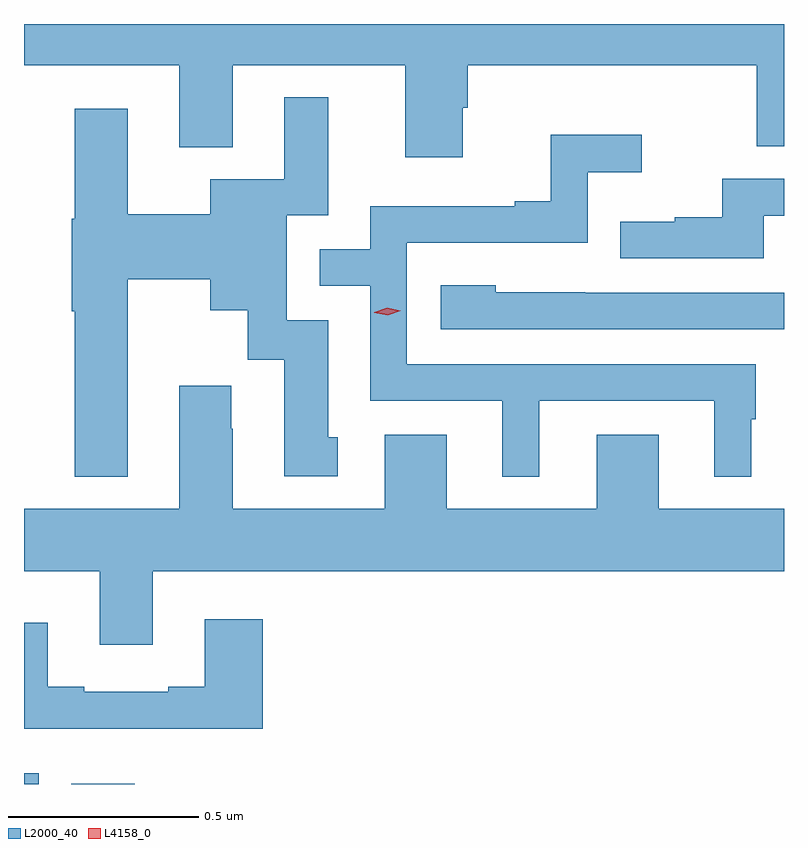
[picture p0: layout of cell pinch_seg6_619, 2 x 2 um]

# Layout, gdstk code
import gdstk
lib = gdstk.Library(unit=1e-6, precision=1e-09)
def R(c, l, rs):  # rectangles x0, y0, x1, y1
    for r in rs: c.add(gdstk.rectangle(r[:2], r[2:], *l))
def P(c, l, *ps):  # polygons
    for p in ps: c.add(gdstk.Polygon(p, *l))
L2000_40 = (2000, 40)
L4158_0 = (4158, 0)

pinch_seg6_619 = lib.new_cell('pinch_seg6_619')
R(pinch_seg6_619, L2000_40, [(396.4,969.42,396.439,969.448), (396.524,969.42,396.691,969.421)])
P(pinch_seg6_619, L2000_40, [(397.555,971.199),(397.568,971.199),(397.568,971.312),(398.328,971.312),(398.328,971.098),(398.4,971.098),(398.4,971.42),(396.4,971.42),(396.4,971.312),(396.809,971.312),(396.809,971.096),(396.949,971.096),(396.949,971.312),(397.403,971.312),(397.403,971.07),(397.555,971.07)],
  [(396.673,970.748),(396.89,970.748),(396.89,970.667),(396.989,970.667),(396.989,970.536),(397.085,970.536),(397.085,970.23),(397.225,970.23),(397.225,970.332),(397.201,970.332),(397.201,970.641),(397.092,970.641),(397.092,970.917),(397.201,970.917),(397.201,971.227),(397.085,971.227),(397.085,971.011),(396.89,971.011),(396.89,970.92),(396.673,970.92),(396.673,971.197),(396.533,971.197),(396.533,970.908),(396.526,970.908),(396.526,970.664),(396.533,970.664),(396.533,970.229),(396.673,970.229)],
  [(397.756,970.428),(398.216,970.428),(398.216,970.229),(398.314,970.229),(398.314,970.38),(398.326,970.38),(398.326,970.524),(397.407,970.524),(397.407,970.845),(397.884,970.845),(397.884,971.03),(398.026,971.03),(398.026,971.129),(397.786,971.129),(397.786,970.954),(397.691,970.954),(397.691,970.941),(397.311,970.941),(397.311,970.827),(397.178,970.827),(397.178,970.731),(397.311,970.731),(397.311,970.428),(397.658,970.428),(397.658,970.229),(397.756,970.229)],
  [(398.347,970.916),(398.4,970.916),(398.4,971.013),(398.237,971.013),(398.237,970.912),(398.113,970.912),(398.113,970.9),(397.969,970.9),(397.969,970.803),(398.347,970.803)],
  [(398.4,970.713),(397.877,970.713),(397.877,970.714),(397.641,970.714),(397.641,970.732),(397.497,970.732),(397.497,970.617),(398.4,970.617)],
  [(396.739,969.98),(398.4,969.98),(398.4,970.144),(398.071,970.144),(398.071,970.339),(397.907,970.339),(397.907,970.144),(397.513,970.144),(397.513,970.339),(397.349,970.339),(397.349,970.144),(396.949,970.144),(396.949,970.355),(396.946,970.355),(396.946,970.468),(396.809,970.468),(396.809,970.144),(396.4,970.144),(396.4,969.98),(396.599,969.98),(396.599,969.786),(396.739,969.786)],
  [(397.028,969.853),(396.875,969.853),(396.875,969.676),(396.779,969.676),(396.779,969.663),(396.559,969.663),(396.559,969.676),(396.463,969.676),(396.463,969.844),(396.4,969.844),(396.4,969.566),(397.028,969.566)])
P(pinch_seg6_619, L4158_0, [(397.357,970.653),(397.322,970.66),(397.322,970.66),(397.322,970.661),(397.356,970.673),(397.391,970.665),(397.391,970.665),(397.391,970.665)])

lib.write_gds('pinch_seg6_619.gds')
